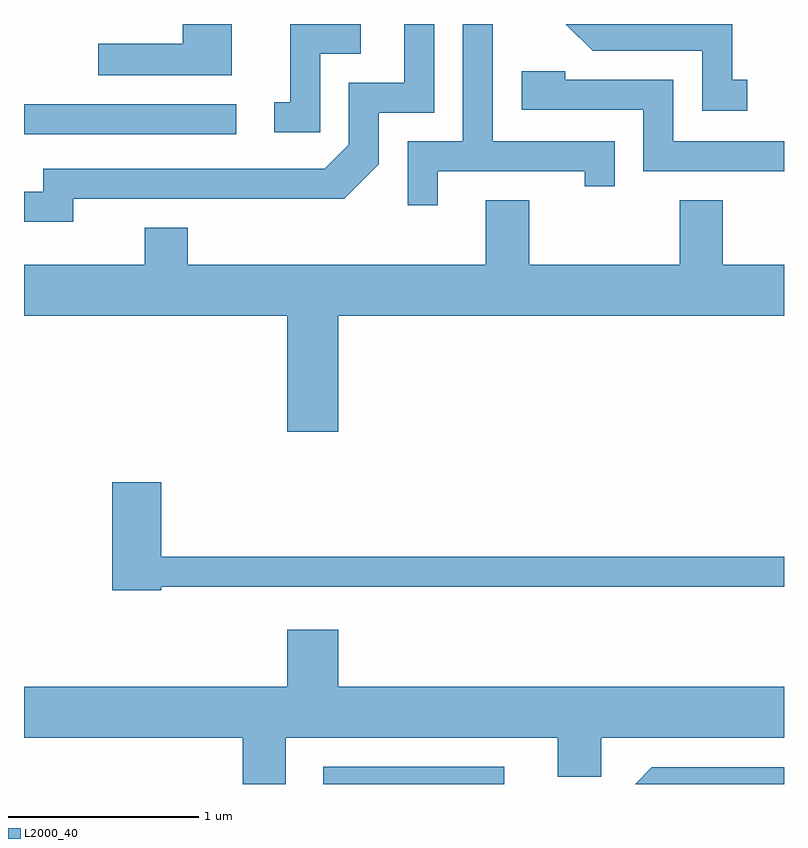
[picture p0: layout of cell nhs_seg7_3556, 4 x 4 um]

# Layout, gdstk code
import gdstk
lib = gdstk.Library(unit=1e-6, precision=1e-09)
def R(c, l, rs):  # rectangles x0, y0, x1, y1
    for r in rs: c.add(gdstk.rectangle(r[:2], r[2:], *l))
def P(c, l, *ps):  # polygons
    for p in ps: c.add(gdstk.Polygon(p, *l))
L2000_40 = (2000, 40)

nhs_seg7_3556 = lib.new_cell('nhs_seg7_3556')
R(nhs_seg7_3556, L2000_40, [(295.186,1756.252,296.139,1756.344), (293.611,1759.671,294.728,1759.829)])
P(nhs_seg7_3556, L2000_40, [(293.869,1759.331),(295.297,1759.331),(295.479,1759.514),(295.479,1759.786),(295.769,1759.786),(295.769,1760.252),(295.611,1760.252),(295.611,1759.944),(295.321,1759.944),(295.321,1759.617),(295.194,1759.489),(293.711,1759.489),(293.711,1759.369),(293.611,1759.369),(293.611,1759.211),(293.869,1759.211)],
  [(294.704,1760.252),(294.446,1760.252),(294.446,1760.149),(294.003,1760.149),(294.003,1759.981),(294.704,1759.981)],
  [(295.169,1760.096),(295.384,1760.096),(295.384,1760.252),(295.011,1760.252),(295.011,1759.839),(294.928,1759.839),(294.928,1759.681),(295.169,1759.681)],
  [(295.789,1759.476),(296.561,1759.476),(296.561,1759.398),(296.719,1759.398),(296.719,1759.634),(296.079,1759.634),(296.079,1760.252),(295.921,1760.252),(295.921,1759.634),(295.631,1759.634),(295.631,1759.298),(295.789,1759.298)],
  [(297.418,1759.959),(297.339,1759.959),(297.339,1760.252),(296.463,1760.252),(296.604,1760.111),(297.181,1760.111),(297.181,1759.796),(297.418,1759.796)],
  [(297.611,1759.634),(297.029,1759.634),(297.029,1759.959),(296.459,1759.959),(296.459,1760.004),(296.231,1760.004),(296.231,1759.801),(296.871,1759.801),(296.871,1759.476),(297.611,1759.476)],
  [(295.264,1758.716),(297.611,1758.716),(297.611,1758.984),(297.289,1758.984),(297.289,1759.324),(297.061,1759.324),(297.061,1758.984),(296.269,1758.984),(296.269,1759.324),(296.041,1759.324),(296.041,1758.984),(294.474,1758.984),(294.474,1759.179),(294.246,1759.179),(294.246,1758.984),(293.611,1758.984),(293.611,1758.716),(294.996,1758.716),(294.996,1758.106),(295.264,1758.106)],
  [(294.334,1757.291),(297.611,1757.291),(297.611,1757.449),(294.334,1757.449),(294.334,1757.839),(294.076,1757.839),(294.076,1757.271),(294.334,1757.271)],
  [(295.264,1757.064),(294.996,1757.064),(294.996,1756.764),(293.611,1756.764),(293.611,1756.496),(294.761,1756.496),(294.761,1756.252),(294.989,1756.252),(294.989,1756.496),(296.421,1756.496),(296.421,1756.291),(296.649,1756.291),(296.649,1756.496),(297.611,1756.496),(297.611,1756.764),(295.264,1756.764)],
  [(297.611,1756.339),(296.914,1756.339),(296.827,1756.252),(297.611,1756.252)])

lib.write_gds('nhs_seg7_3556.gds')
